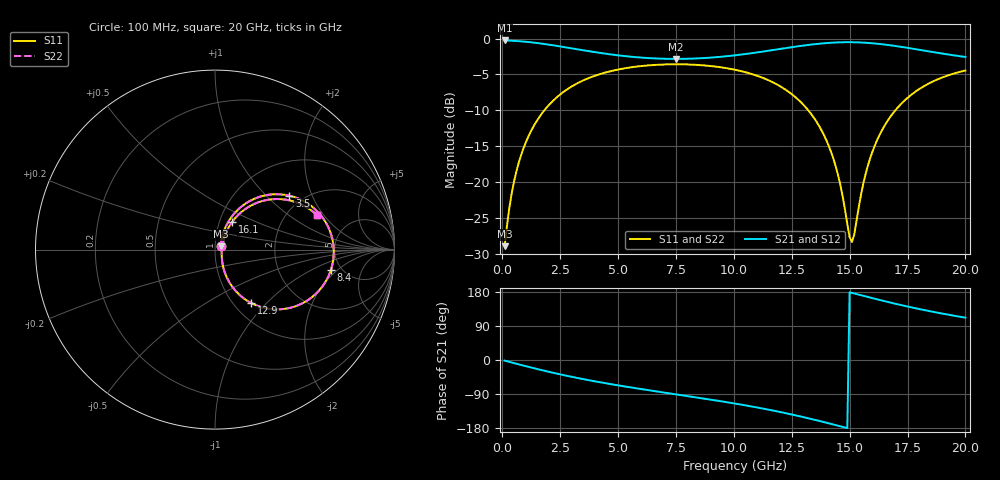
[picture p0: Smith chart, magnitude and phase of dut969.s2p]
! Touchstone file exported from HFSS 2026.1.0
!  File:  C:/ffzhzh/LocalFiles/Ansys_Project_Files/temp_train_TSV_RDL_969_1783285552_30076.aedt
!  Generated:  05:17:57 AM Jul  6, 2026
!  Design:  TSV_RDL
!  Project:  temp_train_TSV_RDL_969_1783285552_30076
! Variables:
!  h_bsmrdl = 4.52um
!  h_ox = 20um
!  h_rdl = 5um
!  h_sub = 79.2um
!  h_tmrdl = 3.16um
!  h_tsv = 79.2um
!  h_via = 3um
!  l_bsmrdl = 906.04um
!  l_sub = 4063.33um
!  l_tmrdl = 206.67um
!  m_sub = 200um
!  pitch = 50.3um
!  r_tsv = 2.55um
!  s_tmrdl = 10um
!  w_bsmrdl = 11.89um
!  w_sub = 500um
!  w_tmrdl = 27.62um
!  x_tsv_center1 = 220.48um
!  x_tsv_center2 = 1138.41um
!  x_tsv_center3 = 1372.7um
!  x_tsv_center4 = 2290.63um
!  x_tsv_center5 = 2524.92um
!  x_tsv_center6 = 3442.85um
# GHz S MA R 50.000000
! Terminal data exported
! Port[1] = TM_RDL1_1_T1
! Port[2] = TM_RDL5_1_T1
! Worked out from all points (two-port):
!   200 points, 100 MHz to 20 GHz, reference 50 ohm
!   highest |S21| = -0.27 dB at 100 MHz (marker M1); lowest = -2.8 dB at 7.5 GHz (marker M2)
!   |S21| within 3 dB of the highest: start of sweep to end of sweep
!   lowest |S11| = -28.9 dB at 100 MHz (marker M3), VSWR 1.07, Z = 53.1 + j1.99 ohm
!   |S11| at or under -10 dB: start of sweep to 1.813 GHz; 13.22 GHz to 16.97 GHz (3.755 GHz wide, 24.9 % of centre)
!   |S22| runs from -28.9 to -3.6 dB; largest |S21 - S12| = 1.9e-14
!   S11 on the Smith chart (normalised r, x): 100 MHz: 1.06, +0.04; 3.5 GHz: 1.70, +1.39; 8.4 GHz: 4.11, -1.65; 12.9 GHz: 1.20, -0.82; 16.1 GHz: 1.15, +0.37; 20 GHz: 2.86, +1.71
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0.1  0.03592 31.3  0.9697 -1.7  0.9697 -1.7  0.03592 31.3
! Gamma 0 0 0 0
! Port Impedance 50 0 50 0
0.3  0.06561 56.8  0.9673 -5.0  0.9673 -5.0  0.06561 56.8
0.5  0.1001 63.3  0.9636 -8.2  0.9636 -8.2  0.1001 63.3
1.2  0.2203 62.3  0.9431 -19.2  0.9431 -19.2  0.2203 62.3
2.2  0.3702 51.2  0.8969 -33.8  0.8969 -33.8  0.3702 51.2
3.5  0.5117 36.0  0.8281 -50.6  0.8281 -50.6  0.5117 36.0
5.1  0.613 19.5  0.7606 -68.0  0.7606 -68.0  0.613 19.5
6.8  0.658 4.0  0.7248 -84.2  0.7248 -84.2  0.658 4.0
7.5  0.662 -2.1  0.7215 -90.6  0.7215 -90.6  0.662 -2.1
8.4  0.6556 -10.0  0.7269 -98.9  0.7269 -98.9  0.6556 -10.0
10.1  0.6042 -25.7  0.7659 -115.5  0.7659 -115.5  0.6042 -25.7
11.6  0.5036 -41.1  0.8273 -132.3  0.8273 -132.3  0.5036 -41.1
12.9  0.36 -55.8  0.889 -149.3  0.889 -149.3  0.3601 -55.8
13.4  0.2896 -61.3  0.9101 -156.5  0.9101 -156.5  0.2896 -61.3
14.3  0.1456 -67.0  0.9368 -170.2  0.9368 -170.2  0.1457 -67.0
15  0.04152 -25.6  0.943 178.7  0.943 178.7  0.04159 -25.6
15.1  0.03837 -1.4  0.9427 177.1  0.9427 177.1  0.03843 -1.5
15.6  0.09933 55.1  0.9366 169.2  0.9366 169.2  0.09932 55.1
16.1  0.1821 58.1  0.9234 161.4  0.9234 161.4  0.1821 58.1
16.7  0.2767 53.6  0.9003 152.4  0.9003 152.4  0.2767 53.6
18.1  0.4549 38.3  0.8305 133.3  0.8305 133.3  0.4549 38.2
20  0.5989 18.7  0.7443 111.6  0.7443 111.6  0.5989 18.7
